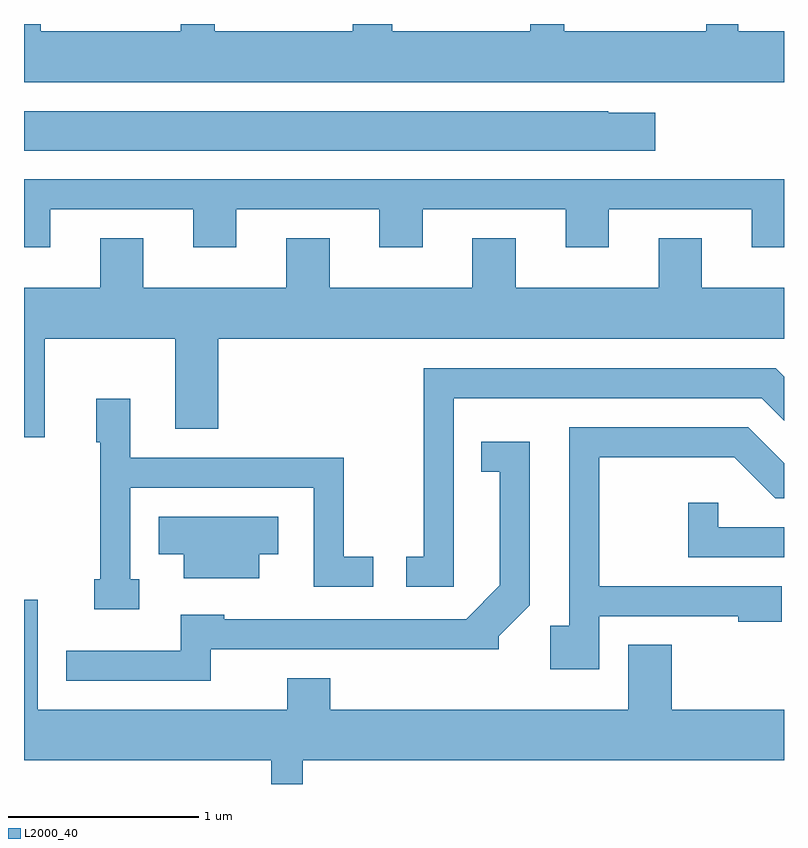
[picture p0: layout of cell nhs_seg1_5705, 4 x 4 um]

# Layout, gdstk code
import gdstk
lib = gdstk.Library(unit=1e-6, precision=1e-09)
def P(c, l, *ps):  # polygons
    for p in ps: c.add(gdstk.Polygon(p, *l))
L2000_40 = (2000, 40)

nhs_seg1_5705 = lib.new_cell('nhs_seg1_5705')
P(nhs_seg1_5705, L2000_40, [(361.611,865.674),(361.369,865.674),(361.369,865.712),(361.201,865.712),(361.201,865.674),(360.454,865.674),(360.454,865.712),(360.276,865.712),(360.276,865.674),(359.549,865.674),(359.549,865.712),(359.341,865.712),(359.341,865.674),(358.614,865.674),(358.614,865.712),(358.436,865.712),(358.436,865.674),(357.699,865.674),(357.699,865.712),(357.611,865.712),(357.611,865.406),(361.611,865.406)],
  [(360.934,865.244),(360.685,865.244),(360.685,865.254),(357.611,865.254),(357.611,865.046),(360.934,865.046)],
  [(357.749,864.736),(358.501,864.736),(358.501,864.536),(358.729,864.536),(358.729,864.736),(359.481,864.736),(359.481,864.536),(359.709,864.536),(359.709,864.736),(360.461,864.736),(360.461,864.536),(360.689,864.536),(360.689,864.736),(361.441,864.736),(361.441,864.536),(361.611,864.536),(361.611,864.894),(357.611,864.894),(357.611,864.536),(357.749,864.536)],
  [(357.719,864.056),(358.406,864.056),(358.406,863.581),(358.634,863.581),(358.634,864.056),(361.611,864.056),(361.611,864.324),(361.179,864.324),(361.179,864.584),(360.951,864.584),(360.951,864.324),(360.199,864.324),(360.199,864.584),(359.971,864.584),(359.971,864.324),(359.219,864.324),(359.219,864.584),(358.991,864.584),(358.991,864.324),(358.239,864.324),(358.239,864.584),(358.011,864.584),(358.011,864.324),(357.611,864.324),(357.611,863.536),(357.719,863.536)],
  [(359.874,863.741),(361.494,863.741),(361.611,863.624),(361.611,863.855),(361.567,863.899),(359.716,863.899),(359.716,862.909),(359.623,862.909),(359.623,862.751),(359.874,862.751)],
  [(358.218,862.789),(358.169,862.789),(358.169,863.271),(359.136,863.271),(359.136,862.751),(359.448,862.751),(359.448,862.909),(359.294,862.909),(359.294,863.429),(358.169,863.429),(358.169,863.739),(357.991,863.739),(357.991,863.511),(358.011,863.511),(358.011,862.789),(357.981,862.789),(357.981,862.631),(358.218,862.631)],
  [(360.639,862.596),(361.371,862.596),(361.371,862.566),(361.599,862.566),(361.599,862.754),(360.639,862.754),(360.639,863.431),(361.349,863.431),(361.564,863.216),(361.611,863.216),(361.611,863.4),(361.422,863.589),(360.481,863.589),(360.481,862.544),(360.381,862.544),(360.381,862.316),(360.639,862.316)],
  [(358.594,862.421),(360.109,862.421),(360.109,862.489),(360.274,862.654),(360.274,863.514),(360.018,863.514),(360.018,863.356),(360.116,863.356),(360.116,862.757),(359.939,862.579),(358.664,862.579),(358.664,862.604),(358.436,862.604),(358.436,862.414),(357.833,862.414),(357.833,862.256),(358.594,862.256)],
  [(361.611,863.064),(361.264,863.064),(361.264,863.193),(361.106,863.193),(361.106,862.906),(361.611,862.906)],
  [(358.849,862.921),(358.949,862.921),(358.949,863.119),(358.321,863.119),(358.321,862.921),(358.451,862.921),(358.451,862.796),(358.849,862.796)],
  [(359.079,861.836),(361.611,861.836),(361.611,862.104),(361.019,862.104),(361.019,862.444),(360.791,862.444),(360.791,862.104),(359.224,862.104),(359.224,862.269),(358.996,862.269),(358.996,862.104),(357.684,862.104),(357.684,862.683),(357.611,862.683),(357.611,861.836),(358.911,861.836),(358.911,861.712),(359.079,861.712)])

lib.write_gds('nhs_seg1_5705.gds')
